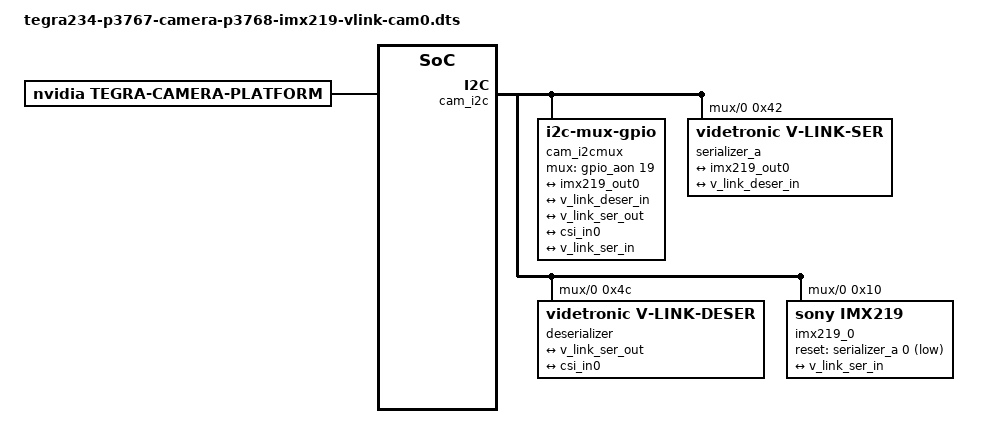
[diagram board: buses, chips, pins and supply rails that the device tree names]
/dts-v1/;
/plugin/;

/ {
	overlay-name = "Camera IMX219 (CAM0) over v-link";
	jetson-header-name = "Jetson 24pin CSI Connector";
	compatible = "nvidia,p3768-0000+p3767-0000\0nvidia,p3768-0000+p3767-0001\0nvidia,p3768-0000+p3767-0003\0nvidia,p3768-0000+p3767-0004\0nvidia,p3768-0000+p3767-0005\0nvidia,p3768-0000+p3767-0000-super\0nvidia,p3768-0000+p3767-0001-super\0nvidia,p3768-0000+p3767-0003-super\0nvidia,p3768-0000+p3767-0004-super\0nvidia,p3768-0000+p3767-0005-super";
	
	fragment@0 {
		target-path = "/";
		__overlay__ {
			tegra-capture-vi {
				num-channels = <1>;
				ports {
					#address-cells = <1>;
					#size-cells = <0>;
					port@0 {
						reg = <0>;
						vi_in0: endpoint {
							port-index = <1>;
							bus-width = <2>;
							remote-endpoint = <&csi_out0>;
						};
					};
				};
			};
			tegra-camera-platform {
				compatible = "nvidia, tegra-camera-platform";
				/**
				* Physical settings to calculate max ISO BW
				*
				* num_csi_lanes = <>;
				* Total number of CSI lanes when all cameras are active
				*
				* max_lane_speed = <>;
				* Max lane speed in Kbit/s
				*
				* min_bits_per_pixel = <>;
				* Min bits per pixel
				*
				* vi_peak_byte_per_pixel = <>;
				* Max byte per pixel for the VI ISO case
				*
				* vi_bw_margin_pct = <>;
				* Vi bandwidth margin in percentage
				*
				* max_pixel_rate = <>;
				* Max pixel rate in Kpixel/s for the ISP ISO case
				* Set this to the highest pix_clk_hz out of all available modes.
				*
				* isp_peak_byte_per_pixel = <>;
				* Max byte per pixel for the ISP ISO case
				*
				* isp_bw_margin_pct = <>;
				* Isp bandwidth margin in percentage
				*/
				num_csi_lanes = <4>;
				max_lane_speed = <1500000>;
				min_bits_per_pixel = <10>;
				vi_peak_byte_per_pixel = <2>;
				vi_bw_margin_pct = <25>;
				max_pixel_rate = <7500000>;
				isp_peak_byte_per_pixel = <5>;
				isp_bw_margin_pct = <25>;
				
				modules {
					module0 {
						badge = "cam0_imx219";
						position = "rear";
						orientation = "1";
						
						drivernode0 {
							pcl_id = "v4l2_sensor";
							sysfs-device-tree = "/sys/firmware/devicetree/base/bus@0/cam_i2cmux/i2c@0/imx219_0@10";
						};
					};
				};
			};
			bus@0 {
				host1x@13e00000 {
					nvcsi@15a00000 {
						num-channels = <1>;
						#address-cells = <1>;
						#size-cells = <0>;
						channel@0 {
							reg = <0>;
							ports {
								#address-cells = <1>;
								#size-cells = <0>;
								port@0 {
									reg = <0>;
									csi_in0: endpoint@0 {
										port-index = <1>;
										bus-width = <2>;
										remote-endpoint = <&v_link_deser_out>;
									};
								};
								
								port@1 {
									reg = <1>;
									csi_out0: endpoint@1 {
										remote-endpoint = <&vi_in0>;
									};
								};
							};
						};
					};
				};
				cam_i2cmux {
					status = "okay";
					compatible = "i2c-mux-gpio";
					#address-cells = <1>;
					#size-cells = <0>;
					mux-gpios = <&gpio_aon 19 0>;//TEGRA234_AON_GPIO(CC, 3)
					i2c-parent = <&cam_i2c>;
					i2c@0 {
						status = "okay";
						reg = <0>;
						#address-cells = <1>;
						#size-cells = <0>;
						
						serializer_a: serializer@42 {
							status = "okay";
							compatible = "videtronic,v-link-ser";
							reg = <0x42>;
							gpio-controller;
							#gpio-cells = <2>;
							bus-width = <2>;
							
							ports {
								#address-cells = <1>;
								#size-cells = <0>;
								port@0 {
									reg = <0>;
									status = "okay";
									v_link_ser_in: endpoint@0 {
										status = "okay";
										port-index = <0>;
										bus-width = <2>;
										remote-endpoint = <&imx219_out0>;
									};
								};
								port@1 {
									reg = <1>;
									status = "okay";
									v_link_ser_out: endpoint@1 {
										status = "okay";
										port-index = <1>;
										remote-endpoint = <&v_link_deser_in>;
									};
								};
							};
						};
						
						deserializer: deserializer@4c {
							status = "okay";
							compatible = "videtronic,v-link-deser";
							reg = <0x4c>;
							bus-width = <2>;
							link-freq = "800000000";
							ports {
								#address-cells = <1>;
								#size-cells = <0>;
								port@0 {
									reg = <0>;
									status = "okay";
									v_link_deser_in: endpoint@0 {
										status = "okay";
										port-index = <0>;
										remote-endpoint = <&v_link_ser_out>;
									};
								};
								port@1 {
									reg = <1>;
									status = "okay";
									v_link_deser_out: endpoint@1 {
										status = "okay";
										port-index = <1>;
										bus-width = <2>;
										remote-endpoint = <&csi_in0>;
									};
								};
							};
						};
						
						imx219_0@10 {
							status = "okay";
							
							compatible = "sony,imx219";
							/* I2C device address */
							reg = <0x10>;
							
							/* V4L2 device node location */
							devnode = "video0";
							
							/* Physical dimensions of sensor */
							physical_w = "3.680";
							physical_h = "2.760";
							sensor_model = "imx219";
							
							use_sensor_mode_id = "true";
							
							reset-gpios = <&serializer_a 0 1>;
							/**
							* ==== Modes ====
							* A modeX node is required to support v4l2 driver
							* implementation with NVIDIA camera software stack
							*
							* == Signal properties ==
							*
							* phy_mode = "";
							* PHY mode used by the MIPI lanes for this device
							*
							* tegra_sinterface = "";
							* CSI Serial interface connected to tegra
							* Incase of virtual HW devices, use virtual
							* For SW emulated devices, use host
							*
							* pix_clk_hz = "";
							* Sensor pixel clock used for calculations like exposure and framerate
							*
							* readout_orientation = "0";
							* Based on camera module orientation.
							* Only change readout_orientation if you specifically
							* Program a different readout order for this mode
							*
							* == Image format Properties ==
							*
							* active_w = "";
							* Pixel active region width
							*
							* active_h = "";
							* Pixel active region height
							*
							* pixel_t = "";
							* The sensor readout pixel pattern
							*
							* line_length = "";
							* Pixel line length (width) for sensor mode.
							*
							* == Source Control Settings ==
							*
							* Gain factor used to convert fixed point integer to float
							* Gain range [min_gain/gain_factor, max_gain/gain_factor]
							* Gain step [step_gain/gain_factor is the smallest step that can be configured]
							* Default gain [Default gain to be initialized for the control.
							*     use min_gain_val as default for optimal results]
							* Framerate factor used to convert fixed point integer to float
							* Framerate range [min_framerate/framerate_factor, max_framerate/framerate_factor]
							* Framerate step [step_framerate/framerate_factor is the smallest step that can be configured]
							* Default Framerate [Default framerate to be initialized for the control.
							*     use max_framerate to get required performance]
							* Exposure factor used to convert fixed point integer to float
							* For convenience use 1 sec = 1000000us as conversion factor
							* Exposure range [min_exp_time/exposure_factor, max_exp_time/exposure_factor]
							* Exposure step [step_exp_time/exposure_factor is the smallest step that can be configured]
							* Default Exposure Time [Default exposure to be initialized for the control.
							*     Set default exposure based on the default_framerate for optimal exposure settings]
							*
							* gain_factor = ""; (integer factor used for floating to fixed point conversion)
							* min_gain_val = ""; (ceil to integer)
							* max_gain_val = ""; (ceil to integer)
							* step_gain_val = ""; (ceil to integer)
							* default_gain = ""; (ceil to integer)
							* Gain limits for mode
							*
							* exposure_factor = ""; (integer factor used for floating to fixed point conversion)
							* min_exp_time = ""; (ceil to integer)
							* max_exp_time = ""; (ceil to integer)
							* step_exp_time = ""; (ceil to integer)
							* default_exp_time = ""; (ceil to integer)
							* Exposure Time limits for mode (sec)
							*
							* framerate_factor = ""; (integer factor used for floating to fixed point conversion)
							* min_framerate = ""; (ceil to integer)
							* max_framerate = ""; (ceil to integer)
							* step_framerate = ""; (ceil to integer)
							* default_framerate = ""; (ceil to integer)
							* Framerate limits for mode (fps)
							*
							* embedded_metadata_height = "";
							* Sensor embedded metadata height in units of rows.
							* If sensor does not support embedded metadata value should be 0.
							*/
							mode0 { /* IMX219_MODE_3280x2464_21FPS */
								mclk_khz = "24000";
								num_lanes = "2";
								tegra_sinterface = "serial_b";
								lane_polarity = "6";
								phy_mode = "DPHY";
								discontinuous_clk = "yes";
								dpcm_enable = "false";
								cil_settletime = "0";
								active_w = "3280";
								active_h = "2464";
								mode_type = "bayer";
								pixel_phase = "rggb";
								csi_pixel_bit_depth = "10";
								readout_orientation = "90";
								line_length = "3448";
								inherent_gain = "1";
								mclk_multiplier = "9.33";
								pix_clk_hz = "182400000";
								gain_factor = "16";
								framerate_factor = "1000000";
								exposure_factor = "1000000";
								min_gain_val = "16"; /* 1.00x */
								max_gain_val = "170"; /* 10.66x */
								step_gain_val = "1";
								default_gain = "16"; /* 1.00x */
								min_hdr_ratio = "1";
								max_hdr_ratio = "1";
								min_framerate = "2000000"; /* 2.0 fps */
								max_framerate = "21000000"; /* 21.0 fps */
								step_framerate = "1";
								default_framerate = "21000000"; /* 21.0 fps */
								min_exp_time = "13"; /* us */
								max_exp_time = "683709"; /* us */
								step_exp_time = "1";
								default_exp_time = "2495"; /* us */
								embedded_metadata_height = "2";
							};
							mode1 { /* IMX219_MODE_3280x1848_28FPS */
								mclk_khz = "24000";
								num_lanes = "2";
								tegra_sinterface = "serial_b";
								lane_polarity = "6";
								phy_mode = "DPHY";
								discontinuous_clk = "yes";
								dpcm_enable = "false";
								cil_settletime = "0";
								active_w = "3280";
								active_h = "1848";
								mode_type = "bayer";
								pixel_phase = "rggb";
								csi_pixel_bit_depth = "10";
								readout_orientation = "90";
								line_length = "3448";
								inherent_gain = "1";
								mclk_multiplier = "9.33";
								pix_clk_hz = "182400000";
								gain_factor = "16";
								framerate_factor = "1000000";
								exposure_factor = "1000000";
								min_gain_val = "16"; /* 1.00x */
								max_gain_val = "170"; /* 10.66x */
								step_gain_val = "1";
								default_gain = "16"; /* 1.00x */
								min_hdr_ratio = "1";
								max_hdr_ratio = "1";
								min_framerate = "2000000"; /* 2.0 fps */
								max_framerate = "28000000"; /* 28.0 fps */
								step_framerate = "1";
								default_framerate = "28000000"; /* 28.0 fps */
								min_exp_time = "13"; /* us */
								max_exp_time = "683709"; /* us */
								step_exp_time = "1";
								default_exp_time = "2495"; /* us */
								embedded_metadata_height = "2";
							};
							mode2 { /* IMX219_MODE_1920x1080_30FPS */
								mclk_khz = "24000";
								num_lanes = "2";
								tegra_sinterface = "serial_b";
								lane_polarity = "6";
								phy_mode = "DPHY";
								discontinuous_clk = "yes";
								dpcm_enable = "false";
								cil_settletime = "0";
								active_w = "1920";
								active_h = "1080";
								mode_type = "bayer";
								pixel_phase = "rggb";
								csi_pixel_bit_depth = "10";
								readout_orientation = "90";
								line_length = "3448";
								inherent_gain = "1";
								mclk_multiplier = "9.33";
								pix_clk_hz = "182400000";
								gain_factor = "16";
								framerate_factor = "1000000";
								exposure_factor = "1000000";
								min_gain_val = "16"; /* 1.00x */
								max_gain_val = "170"; /* 10.66x */
								step_gain_val = "1";
								default_gain = "16"; /* 1.00x */
								min_hdr_ratio = "1";
								max_hdr_ratio = "1";
								min_framerate = "2000000"; /* 2.0 fps */
								max_framerate = "30000000"; /* 30.0 fps */
								step_framerate = "1";
								default_framerate = "30000000"; /* 30.0 fps */
								min_exp_time = "13"; /* us */
								max_exp_time = "683709"; /* us */
								step_exp_time = "1";
								default_exp_time = "2495"; /* us */
								embedded_metadata_height = "2";
							};
							mode3 { /* IMX219_MODE_1640x1232_30FPS */
								mclk_khz = "24000";
								num_lanes = "2";
								tegra_sinterface = "serial_b";
								lane_polarity = "6";
								phy_mode = "DPHY";
								discontinuous_clk = "yes";
								dpcm_enable = "false";
								cil_settletime = "0";
								active_w = "1640";
								active_h = "1232";
								mode_type = "bayer";
								pixel_phase = "rggb";
								csi_pixel_bit_depth = "10";
								readout_orientation = "90";
								line_length = "3448";
								inherent_gain = "1";
								mclk_multiplier = "9.33";
								pix_clk_hz = "182400000";
								gain_factor = "16";
								framerate_factor = "1000000";
								exposure_factor = "1000000";
								min_gain_val = "16"; /* 1.00x */
								max_gain_val = "170"; /* 10.66x */
								step_gain_val = "1";
								default_gain = "16"; /* 1.00x */
								min_hdr_ratio = "1";
								max_hdr_ratio = "1";
								min_framerate = "2000000"; /* 2.0 fps */
								max_framerate = "30000000"; /* 60.0 fps */
								step_framerate = "1";
								default_framerate = "30000000"; /* 60.0 fps */
								min_exp_time = "13"; /* us */
								max_exp_time = "683709"; /* us */
								step_exp_time = "1";
								default_exp_time = "2495"; /* us */
								embedded_metadata_height = "2";
							};
							mode4 { /* IMX219_MODE_1280x720_60FPS */
								mclk_khz = "24000";
								num_lanes = "2";
								tegra_sinterface = "serial_b";
								lane_polarity = "6";
								phy_mode = "DPHY";
								discontinuous_clk = "yes";
								dpcm_enable = "false";
								cil_settletime = "0";
								active_w = "1280";
								active_h = "720";
								mode_type = "bayer";
								pixel_phase = "rggb";
								csi_pixel_bit_depth = "10";
								readout_orientation = "90";
								line_length = "3448";
								inherent_gain = "1";
								mclk_multiplier = "9.33";
								pix_clk_hz = "182400000";
								gain_factor = "16";
								framerate_factor = "1000000";
								exposure_factor = "1000000";
								min_gain_val = "16"; /* 1.00x */
								max_gain_val = "170"; /* 10.66x */
								step_gain_val = "1";
								default_gain = "16"; /* 1.00x */
								min_hdr_ratio = "1";
								max_hdr_ratio = "1";
								min_framerate = "2000000"; /* 2.0 fps */
								max_framerate = "60000000"; /* 60.0 fps */
								step_framerate = "1";
								default_framerate = "60000000"; /* 60.0 fps */
								min_exp_time = "13"; /* us */
								max_exp_time = "683709"; /* us */
								step_exp_time = "1";
								default_exp_time = "2495"; /* us */
								embedded_metadata_height = "2";
							};
							
							ports {
								#address-cells = <1>;
								#size-cells = <0>;
								port@0 {
									reg = <0>;
									imx219_out0: endpoint {
										port-index = <1>;
										bus-width = <2>;
										remote-endpoint = <&v_link_ser_in>;
									};
								};
							};
						};
					};
				};
			};
		};
	};
};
